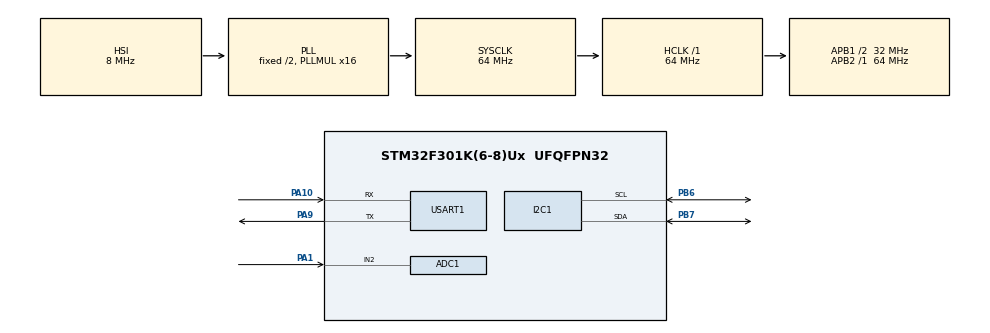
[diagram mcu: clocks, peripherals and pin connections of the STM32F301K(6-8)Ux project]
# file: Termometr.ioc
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ADC1.Channel-1\#ChannelRegularConversion=ADC_CHANNEL_2
ADC1.ContinuousConvMode=ENABLE
ADC1.NbrOfConversionFlag=1
ADC1.Offset-1\#ChannelRegularConversion=0
ADC1.OffsetNumber-1\#ChannelRegularConversion=ADC_OFFSET_NONE
ADC1.Rank-1\#ChannelRegularConversion=1
ADC1.SamplingTime-1\#ChannelRegularConversion=ADC_SAMPLETIME_61CYCLES_5
ADC1.master=1
Dma.ADC1.0.Direction=DMA_PERIPH_TO_MEMORY
Dma.ADC1.0.Instance=DMA1_Channel1
Dma.ADC1.0.MemDataAlignment=DMA_MDATAALIGN_WORD
Dma.ADC1.0.MemInc=DMA_MINC_ENABLE
Dma.ADC1.0.Mode=DMA_NORMAL
Dma.ADC1.0.PeriphDataAlignment=DMA_PDATAALIGN_WORD
Dma.ADC1.0.PeriphInc=DMA_PINC_DISABLE
Dma.ADC1.0.Priority=DMA_PRIORITY_LOW
Dma.Request0=ADC1
I2C1.Timing=0x00201D2B
Mcu.Family=STM32F3
Mcu.Name=STM32F301K(6-8)Ux
Mcu.Package=UFQFPN32
NVIC.DMA1_Channel1_IRQn=true\:0\:0\:false\:false\:true\:false\:true\:true
NVIC.PriorityGroup=NVIC_PRIORITYGROUP_4
PA1.Mode=IN2-Single-Ended
PA1.Signal=ADC1_IN2
PA10.Mode=Asynchronous
PA10.Signal=USART1_RX
PA9.Mode=Asynchronous
PA9.Signal=USART1_TX
PB6.Mode=I2C
PB6.Signal=I2C1_SCL
PB7.Mode=I2C
PB7.Signal=I2C1_SDA
ProjectManager.HeapSize=0x200
ProjectManager.StackSize=0x400
ProjectManager.TargetToolchain=STM32CubeIDE
RCC.ADC12PRES=RCC_ADC1PLLCLK_DIV256
RCC.AHBFreq_Value=64000000
RCC.APB1CLKDivider=RCC_HCLK_DIV2
RCC.APB1Freq_Value=32000000
RCC.APB1TimFreq_Value=64000000
RCC.APB2Freq_Value=64000000
RCC.APB2TimFreq_Value=64000000
RCC.CortexFreq_Value=64000000
RCC.HCLKFreq_Value=64000000
RCC.HSE_VALUE=8000000
RCC.HSI_VALUE=8000000
RCC.PLLMUL=RCC_PLL_MUL16
RCC.SYSCLKFreq_VALUE=64000000
RCC.SYSCLKSourceVirtual=RCC_SYSCLKSOURCE_PLLCLK
USART1.VirtualMode-Asynchronous=VM_ASYNC
board=custom

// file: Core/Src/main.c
/* USER CODE BEGIN Header */
/**
  ******************************************************************************
  * @file           : main.c
  * @brief          : Main program body
  ******************************************************************************
  * @attention
  *
  * Copyright (c) 2026 STMicroelectronics.
  * All rights reserved.
  *
  * This software is licensed under terms that can be found in the LICENSE file
  * in the root directory of this software component.
  * If no LICENSE file comes with this software, it is provided AS-IS.
  *
  ******************************************************************************
  */
/* USER CODE END Header */
#include "main.h"

/* USER CODE BEGIN Includes */
#include "stdio.h"
#include "lut.h"
#include "ssd1306.h"
#include "ssd1306_fonts.h"

//#define EVERY_PROBE
//#define DIFFERENTIAL
#define CONVERT_TO_TEMP

//#include "string.h"
/* USER CODE END Includes */

ADC_HandleTypeDef hadc1;
DMA_HandleTypeDef hdma_adc1;

I2C_HandleTypeDef hi2c1;

UART_HandleTypeDef huart1;

/* USER CODE BEGIN PV */
static int32_t value_adc[30] = {0};
uint32_t start_time = 0;

/* USER CODE END PV */

void SystemClock_Config(void);
static void MX_GPIO_Init(void);
static void MX_DMA_Init(void);
static void MX_USART1_UART_Init(void);
static void MX_ADC1_Init(void);
static void MX_I2C1_Init(void);

/* USER CODE BEGIN 0 */
void HAL_ADC_ConvCpltCallback(ADC_HandleTypeDef* hadc)
{
    uint32_t end_time = HAL_GetTick();
    uint32_t dt = end_time - start_time;
    char msgTime[30];
#ifdef EVERY_PROBE
	 snprintf(msgTime, sizeof(msgTime), " --- \r\n ", end_time - start_time);
	 HAL_UART_Transmit(&huart1, (uint8_t*)msgTime, strlen(msgTime), HAL_MAX_DELAY);
    // Tu możesz np. wysłać dane przez UART
    char msg[30];
    for(int i=0; i<3000; i++)
    {
#ifdef CONVERT_TO_TEMP
#ifdef DIFFERENTIAL
        snprintf(msg, sizeof(msg), "%d = %d\r\n", i, value_adc[i]);
#endif DIFFERENTIAL
#ifndef DIFFERENTIAL
        snprintf(msg, sizeof(msg), "%d = %d\r\n", i, Value_to_temp[value_adc[i]]);
#endif DIFFERENTIAL
#endif CONVERT_TO_TEMP
#ifndef CONVERT_TO_TEMP
        snprintf(msg, sizeof(msg), "%d = %d\r\n", i, value_adc[i]);
#endif CONVERT_TO_TEMP
        HAL_UART_Transmit(&huart1, (uint8_t*)msg, strlen(msg), HAL_MAX_DELAY);
    }
    HAL_ADC_Start_DMA(&hadc1,(uint32_t*)&value_adc,3000);
#endif
#ifndef EVERY_PROBE
    snprintf(msgTime, sizeof(msgTime), "Delay = %d ms\r\n", dt);
    HAL_ADC_Start_DMA(&hadc1,(int32_t*)&value_adc,3000);
    HAL_UART_Transmit(&huart1, (uint8_t*)msgTime, strlen(msgTime), HAL_MAX_DELAY);
    char msg[40];
    long sum = 0;
    int offset;
    int histogram[7] = {0};
    for(int i=0; i<3000; i++)
    {
    	if(i == 0)
    	{
    		offset = value_adc[i];
    	}
    	if(value_adc[i]-offset+3 >=0 && value_adc[i]-offset+3 <5)
    		histogram[value_adc[i]-offset+3] +=1;
	#ifndef CONVERT_TO_TEMP
    	sum+= (value_adc[i]);
	#endif
	#ifdef CONVERT_TO_TEMP
		#ifdef DIFFERENTIAL
    	//sum+= (Value_to_temp[value_adc[i]]);
    	sum+= value_adc[i];
		#endif
		#ifndef DIFFERENTIAL
    	sum+= (Value_to_temp[value_adc[i]]);
		#endif
	#endif
    }
    long mean = sum/3000;
    snprintf(msg, sizeof(msg), "value =  %d\r\n", mean);
    HAL_UART_Transmit(&huart1, (uint8_t*)msg, strlen(msg), HAL_MAX_DELAY);

    snprintf(msg, sizeof(msg), "histogram [ %d %d %d %d %d %d %d ] \r\n", histogram[0], histogram[1], histogram[2], histogram[3], histogram[4], histogram[5],  histogram[6]);
    HAL_UART_Transmit(&huart1, (uint8_t*)msg, strlen(msg), HAL_MAX_DELAY);
#endif
}
/* USER CODE END 0 */

int main(void)
{

  /* MCU Configuration--------------------------------------------------------*/

  /* Reset of all peripherals, Initializes the Flash interface and the Systick. */
  HAL_Init();

  /* Configure the system clock */
  SystemClock_Config();

  /* Initialize all configured peripherals */
  MX_GPIO_Init();
  MX_DMA_Init();
  MX_USART1_UART_Init();
  MX_ADC1_Init();
  MX_I2C1_Init();
  /* USER CODE BEGIN 2 */
  start_time = HAL_GetTick();
  HAL_ADC_Start_DMA(&hadc1,(uint32_t*)&value_adc,3000);
  start_time = HAL_GetTick();
    //HAL_UART_Transmit(&huart1, (uint8_t*)msg2, strlen(msg2), HAL_MAX_DELAY);
  char msg1[30] = "Mmm mm... \r\n";
  char msg2[30] = {0};
  ssd1306_Init();
  /* USER CODE END 2 */

  /* Infinite loop */
  /* USER CODE BEGIN WHILE */
  while (1)
  {

	  /*
	   uint8_t y = 0;
	   ssd1306_Fill(White);
	   ssd1306_SetCursor(2, y);

	  ssd1306_WriteString("0123456789A", Font_11x18, Black);
	  HAL_Delay(1000);
	  ssd1306_Fill(Black);
	  ssd1306_WriteString("0123456789A", Font_11x18, White);
	  HAL_Delay(1000);
	  */
	  //HAL_ADC_Start_DMA(&hadc1,(uint32_t*)&value_adc,10);
	  //HAL_Delay(1000);
	  //snprintf(msg2, 20, "%ld \r\n", value_adc[0]);
	  //HAL_UART_Transmit(&huart1, (uint8_t*)msg2, 30, HAL_MAX_DELAY);
	  //HAL_UART_Transmit(&huart1, (uint8_t*)msg1, 30, HAL_MAX_DELAY);
	  //for(int i = 0; i<1000; i++)
	  //{
	//	  snprintf(msg2, 20, "%d = %ld \r\n", i, value_adc[i]);
	//	  HAL_UART_Transmit(&huart1, (uint8_t*)msg2, 30, HAL_MAX_DELAY);
	 // }

    /* USER CODE END WHILE */

  }
}

void SystemClock_Config(void)
{
  RCC_OscInitTypeDef RCC_OscInitStruct = {0};
  RCC_ClkInitTypeDef RCC_ClkInitStruct = {0};
  RCC_PeriphCLKInitTypeDef PeriphClkInit = {0};

  /** Initializes the RCC Oscillators according to the specified parameters
  * in the RCC_OscInitTypeDef structure.
  */
  RCC_OscInitStruct.OscillatorType = RCC_OSCILLATORTYPE_HSI;
  RCC_OscInitStruct.HSIState = RCC_HSI_ON;
  RCC_OscInitStruct.HSICalibrationValue = RCC_HSICALIBRATION_DEFAULT;
  RCC_OscInitStruct.PLL.PLLState = RCC_PLL_ON;
  RCC_OscInitStruct.PLL.PLLSource = RCC_PLLSOURCE_HSI;
  RCC_OscInitStruct.PLL.PLLMUL = RCC_PLL_MUL16;
  if (HAL_RCC_OscConfig(&RCC_OscInitStruct) != HAL_OK)
  {
    Error_Handler();
  }

  /** Initializes the CPU, AHB and APB buses clocks
  */
  RCC_ClkInitStruct.ClockType = RCC_CLOCKTYPE_HCLK|RCC_CLOCKTYPE_SYSCLK
                              |RCC_CLOCKTYPE_PCLK1|RCC_CLOCKTYPE_PCLK2;
  RCC_ClkInitStruct.SYSCLKSource = RCC_SYSCLKSOURCE_PLLCLK;
  RCC_ClkInitStruct.AHBCLKDivider = RCC_SYSCLK_DIV1;
  RCC_ClkInitStruct.APB1CLKDivider = RCC_HCLK_DIV2;
  RCC_ClkInitStruct.APB2CLKDivider = RCC_HCLK_DIV1;

  if (HAL_RCC_ClockConfig(&RCC_ClkInitStruct, FLASH_LATENCY_2) != HAL_OK)
  {
    Error_Handler();
  }
  PeriphClkInit.PeriphClockSelection = RCC_PERIPHCLK_USART1|RCC_PERIPHCLK_I2C1
                              |RCC_PERIPHCLK_ADC1;
  PeriphClkInit.Usart1ClockSelection = RCC_USART1CLKSOURCE_PCLK1;
  PeriphClkInit.I2c1ClockSelection = RCC_I2C1CLKSOURCE_HSI;
  PeriphClkInit.Adc1ClockSelection = RCC_ADC1PLLCLK_DIV256;

  if (HAL_RCCEx_PeriphCLKConfig(&PeriphClkInit) != HAL_OK)
  {
    Error_Handler();
  }
}

static void MX_ADC1_Init(void)
{

  ADC_ChannelConfTypeDef sConfig = {0};

  /** Common config
  */
  hadc1.Instance = ADC1;
  hadc1.Init.ClockPrescaler = ADC_CLOCK_ASYNC_DIV1;
  hadc1.Init.Resolution = ADC_RESOLUTION_12B;
  hadc1.Init.ScanConvMode = ADC_SCAN_DISABLE;
  hadc1.Init.ContinuousConvMode = ENABLE;
  hadc1.Init.DiscontinuousConvMode = DISABLE;
  hadc1.Init.ExternalTrigConvEdge = ADC_EXTERNALTRIGCONVEDGE_NONE;
  hadc1.Init.ExternalTrigConv = ADC_SOFTWARE_START;
  hadc1.Init.DataAlign = ADC_DATAALIGN_RIGHT;
  hadc1.Init.NbrOfConversion = 1;
  hadc1.Init.DMAContinuousRequests = DISABLE;
  hadc1.Init.EOCSelection = ADC_EOC_SINGLE_CONV;
  hadc1.Init.LowPowerAutoWait = DISABLE;
  hadc1.Init.Overrun = ADC_OVR_DATA_OVERWRITTEN;
  if (HAL_ADC_Init(&hadc1) != HAL_OK)
  {
    Error_Handler();
  }

  /** Configure Regular Channel
  */
  sConfig.Channel = ADC_CHANNEL_2;
  sConfig.Rank = ADC_REGULAR_RANK_1;
#ifdef DIFFERENTIAL
  sConfig.SingleDiff = ADC_DIFFERENTIAL_ENDED;
#endif
#ifndef DIFFERENTIAL
  sConfig.SingleDiff = ADC_SINGLE_ENDED;
#endif
  sConfig.SamplingTime = ADC_SAMPLETIME_61CYCLES_5;
  sConfig.OffsetNumber = ADC_OFFSET_NONE;
  sConfig.Offset = 0;
  if (HAL_ADC_ConfigChannel(&hadc1, &sConfig) != HAL_OK)
  {
    Error_Handler();
  }

}

static void MX_I2C1_Init(void)
{

  hi2c1.Instance = I2C1;
  hi2c1.Init.Timing = 0x00201D2B;
  hi2c1.Init.OwnAddress1 = 0;
  hi2c1.Init.AddressingMode = I2C_ADDRESSINGMODE_7BIT;
  hi2c1.Init.DualAddressMode = I2C_DUALADDRESS_DISABLE;
  hi2c1.Init.OwnAddress2 = 0;
  hi2c1.Init.OwnAddress2Masks = I2C_OA2_NOMASK;
  hi2c1.Init.GeneralCallMode = I2C_GENERALCALL_DISABLE;
  hi2c1.Init.NoStretchMode = I2C_NOSTRETCH_DISABLE;
  if (HAL_I2C_Init(&hi2c1) != HAL_OK)
  {
    Error_Handler();
  }

  /** Configure Analogue filter
  */
  if (HAL_I2CEx_ConfigAnalogFilter(&hi2c1, I2C_ANALOGFILTER_ENABLE) != HAL_OK)
  {
    Error_Handler();
  }

  /** Configure Digital filter
  */
  if (HAL_I2CEx_ConfigDigitalFilter(&hi2c1, 0) != HAL_OK)
  {
    Error_Handler();
  }

}

static void MX_USART1_UART_Init(void)
{

  huart1.Instance = USART1;
  huart1.Init.BaudRate = 38400;
  huart1.Init.WordLength = UART_WORDLENGTH_8B;
  huart1.Init.StopBits = UART_STOPBITS_1;
  huart1.Init.Parity = UART_PARITY_NONE;
  huart1.Init.Mode = UART_MODE_TX_RX;
  huart1.Init.HwFlowCtl = UART_HWCONTROL_NONE;
  huart1.Init.OverSampling = UART_OVERSAMPLING_16;
  huart1.Init.OneBitSampling = UART_ONE_BIT_SAMPLE_DISABLE;
  huart1.AdvancedInit.AdvFeatureInit = UART_ADVFEATURE_NO_INIT;
  if (HAL_UART_Init(&huart1) != HAL_OK)
  {
    Error_Handler();
  }

}

static void MX_DMA_Init(void)
{

  /* DMA controller clock enable */
  __HAL_RCC_DMA1_CLK_ENABLE();

  /* DMA interrupt init */
  /* DMA1_Channel1_IRQn interrupt configuration */
  HAL_NVIC_SetPriority(DMA1_Channel1_IRQn, 0, 0);
  HAL_NVIC_EnableIRQ(DMA1_Channel1_IRQn);

}

static void MX_GPIO_Init(void)
{

  /* GPIO Ports Clock Enable */
  __HAL_RCC_GPIOA_CLK_ENABLE();
  __HAL_RCC_GPIOB_CLK_ENABLE();

}

void Error_Handler(void)
{
  __disable_irq();
  while (1)
  {
  }
}
